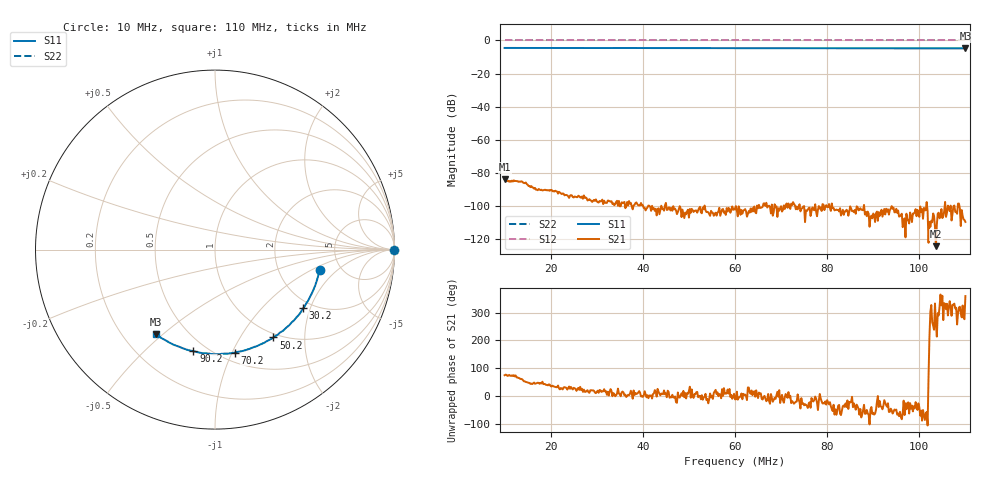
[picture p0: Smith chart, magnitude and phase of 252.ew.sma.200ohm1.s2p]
! Anritsu VNA Master:  Model: MS2036C/10/77
! SN:  1601066
! /card0/usr/200ohm1.s2p
! Existing Calibration Information:
! TYPE:  Current Settings,  Active Cal Settings
! TIME:  12/20/2017 03:49:02 PM,  12/20/2017 03:36:34 PM
! INTERNAL TEMP:  44.5 C,  44.5 C
! # POINTS:  501,  501
! START FREQ:  10.000 MHz,  10.000 MHz
! STOP FREQ:  110.000 MHz,  110.000 MHz
! SOURCE POWER:  High,  High
! IFBW:  100 Hz,  100 Hz
! AVG FACTOR:  1 ,  1
! REF PLANE 1:  0 mm,  0 mm
! REF PLANE 2:  0 mm,  0 mm
! CAL TYPE:  Full S11,  Full S11
! CAL METHOD:  SOLT,  SOLT
! CAL LINE TYPE:  Coax,  Coax
! DUT PORT 1:  K-Conn(F),  K-Conn(F)
! DUT PORT 2:  K-Conn(F),  K-Conn(F)
! CAL STATUS:  OK: Accuracy High,  --
# GHZ S DB R 50.0
! FREQ.GHZ  S11DB  S11A  S21DB  S21A  S12DB  S12A  S22DB  S22A
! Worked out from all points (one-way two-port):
!   501 points, 10 MHz to 110 MHz, reference 50 ohm
!   highest |S21| = -83.90 dB at 10 MHz (marker M1); lowest = -124.4 dB at 103.6 MHz (marker M2)
!   lowest |S11| = -4.8 dB at 110 MHz (marker M3), VSWR 3.70, Z = 16.9 - j23.6 ohm
!   |S11| at or under -10 dB: nowhere
!   |S22| runs from 0.0 to 0.0 dB; largest |S21 - S12| = 1
!   S11 on the Smith chart (normalised r, x): 10 MHz: 3.46, -1.22; 30.2 MHz: 1.78, -1.79; 50.2 MHz: 0.94, -1.41; 70.2 MHz: 0.59, -1.02; 90.2 MHz: 0.42, -0.72; 110 MHz: 0.34, -0.47
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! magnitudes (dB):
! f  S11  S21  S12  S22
! 10 MHz  -4.5  -83.9  0.0  0.0
! 26.8 MHz  -4.6  -94.3  0.0  0.0
! 30.2 MHz  -4.6  -97.8  0.0  0.0
! 33 MHz  -4.5  -97.5  0.0  0.0
! 35.4 MHz  -4.6  -97.9  0.0  0.0
! 37.2 MHz  -4.6  -98.7  0.0  0.0
! 38.8 MHz  -4.6  -99.0  0.0  0.0
! 40.4 MHz  -4.6  -101.2  0.0  0.0
! 43.4 MHz  -4.6  -101.5  0.0  0.0
! 44.6 MHz  -4.6  -102.9  0.0  0.0
! 46.2 MHz  -4.6  -101.3  0.0  0.0
! 50.2 MHz  -4.6  -101.9  0.0  0.0
! 60 MHz  -4.7  -102.3  0.0  0.0
! 70.2 MHz  -4.7  -103.4  0.0  0.0
! 76.8 MHz  -4.7  -101.0  0.0  0.0
! 81 MHz  -4.7  -98.6  0.0  0.0
! 83 MHz  -4.7  -105.9  0.0  0.0
! 85.6 MHz  -4.7  -103.0  0.0  0.0
! 90.2 MHz  -4.8  -105.4  0.0  0.0
! 93.4 MHz  -4.7  -105.3  0.0  0.0
! 103.6 MHz  -4.8  -124.4  0.0  0.0
! 110 MHz  -4.8  -109.7  0.0  0.0
